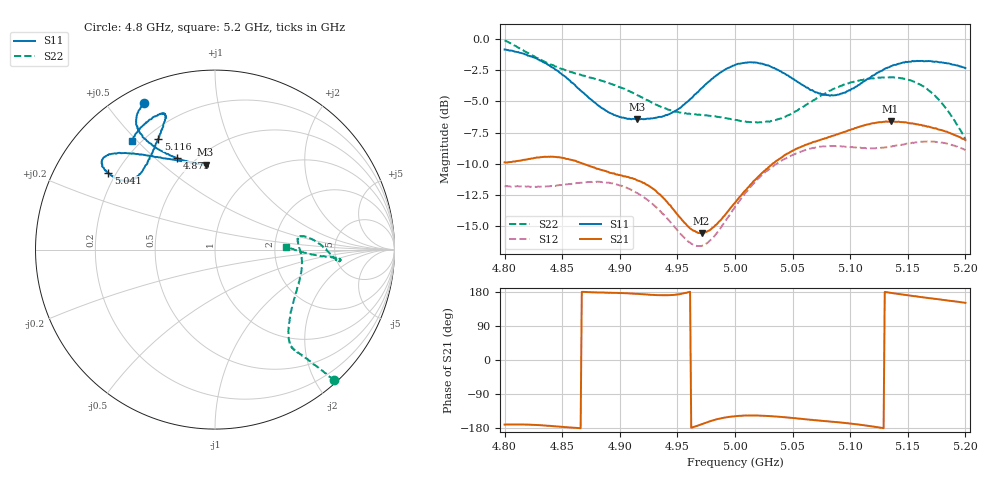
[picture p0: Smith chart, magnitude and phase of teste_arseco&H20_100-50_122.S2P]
! Network Analyzer HP8722D
! Hewlett-Packard
! Data name: Linha & Wilkinson
! Saver's name: Rodrigo Anjos
! Comments: Teste da utilização de aquisição
! continua pelo VNA HP8722D
! Time and date: 6/5/2025 13:35
!  Frequency  S11  S21  S12  S22
# HZ  S  MA R 50
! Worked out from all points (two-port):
!   401 points, 4.8 GHz to 5.2 GHz, reference 50 ohm
!   highest |S21| = -6.59 dB at 5.135 GHz (marker M1); lowest = -15.5 dB at 4.971 GHz (marker M2)
!   |S21| within 3 dB of the highest: 4.823 GHz to 4.853 GHz (30.32 MHz wide, 0.627 % of centre); 5.039 GHz to end of sweep
!   lowest |S11| = -6.4 dB at 4.915 GHz (marker M3), VSWR 2.82, Z = 29 + j35.5 ohm
!   |S11| at or under -10 dB: nowhere
!   |S22| runs from -8.0 to -0.1 dB; largest |S21 - S12| = 0.83
!   S11 on the Smith chart (normalised r, x): 4.8 GHz: 0.07, +0.63; 4.879 GHz: 0.40, +0.59; 5.041 GHz: 0.17, +0.31; 5.116 GHz: 0.25, +0.59; 5.2 GHz: 0.17, +0.48
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4.8e9  0.9058 115.8  0.3204 -170.5  0.2573 -86.2  0.9843 -47.5
4.818e9  0.8656 120.1  0.3282 -170.4  0.2569 -82.1  0.8874 -48.6
4.836e9  0.797 122.6  0.3372 -173.2  0.2567 -76.3  0.8044 -49.8
4.867e9  0.6146 117.8  0.3179 179.8  0.2655 -67.4  0.715 -51.5
4.879e9  0.5529 112.5  0.3036 178.4  0.2672 -66.1  0.691 -51.8
4.9e9  0.4861 101.3  0.2853 176.8  0.2589 -66.6  0.6396 -50.2
4.915e9  0.476 96.3  0.2715 174.5  0.2418 -68.3  0.5956 -46.5
4.934e9  0.4867 99.3  0.2397 171.1  0.2074 -69.5  0.5381 -37.5
4.959e9  0.5617 116.3  0.178 178.6  0.1551 -59.1  0.5011 -20.9
4.971e9  0.6342 124.6  0.167 -169.6  0.1483 -45.4  0.4958 -14.0
5e9  0.7853 137.2  0.2207 -148.3  0.213 -21.5  0.4737 -0.3
5.019e9  0.8023 141.8  0.2773 -146.5  0.2718 -18.4  0.4629 5.8
5.041e9  0.7321 144.2  0.3362 -150.5  0.3272 -18.5  0.4833 9.0
5.067e9  0.6234 142.0  0.3849 -157.9  0.3658 -20.6  0.5628 4.7
5.088e9  0.5952 132.9  0.4144 -163.8  0.3718 -23.8  0.6371 -1.7
5.116e9  0.694 117.0  0.4549 -174.1  0.3649 -26.9  0.692 -5.4
5.134e9  0.7698 111.2  0.4656 177.9  0.3695 -28.8  0.7009 -4.8
5.135e9  0.7757 111.1  0.468 177.4  0.3704 -28.8  0.7012 -4.5
5.149e9  0.8072 110.3  0.462 171.1  0.3809 -31.6  0.688 -4.1
5.165e9  0.8135 113.6  0.4478 164.7  0.3879 -36.3  0.6382 -3.7
5.181e9  0.8023 119.3  0.4285 158.4  0.3832 -41.3  0.5426 -3.0
5.2e9  0.7635 127.4  0.3934 150.8  0.3585 -46.4  0.3969 2.3
